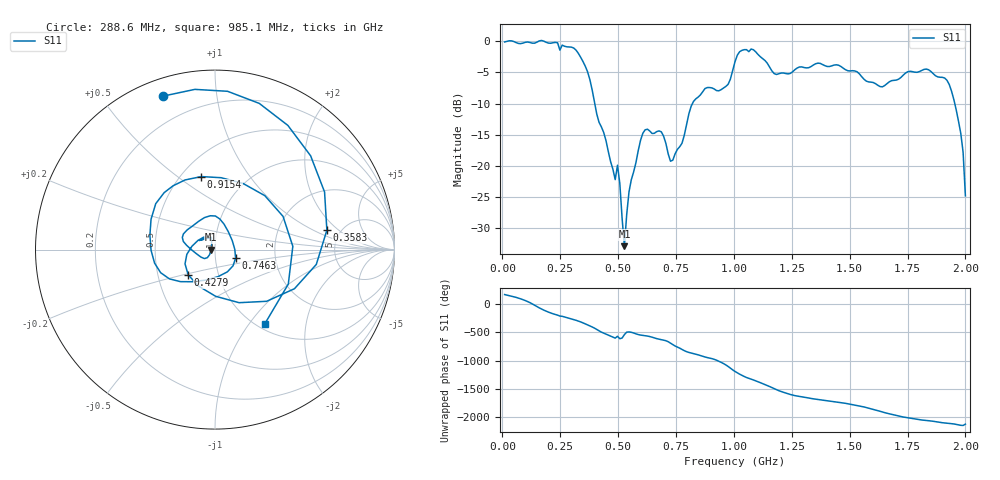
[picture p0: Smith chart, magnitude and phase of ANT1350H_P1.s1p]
!Created with skrf (http://scikit-rf.org).
# Hz S RI R 50.0
!freq ReS11 ImS11
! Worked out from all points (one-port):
!   201 points, 10 MHz to 2 GHz, reference 50 ohm
!   lowest |S11| = -33.0 dB at 527.4 MHz (marker M1), VSWR 1.05, Z = 47.8 + j0.0135 ohm
!   |S11| at or under -10 dB: 399.3 MHz to 821.3 MHz (422.1 MHz wide, 69.2 % of centre); 1.954 GHz to end of sweep
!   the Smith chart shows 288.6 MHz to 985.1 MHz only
!   S11 on the Smith chart (normalised r, x): 288.6 MHz: 0.08, +0.71; 358.2 MHz: 3.91, +1.41; 427.9 MHz: 0.71, -0.21; 746.3 MHz: 1.25, -0.12; 915.5 MHz: 0.63, +0.61; 985.1 MHz: 1.09, -1.19
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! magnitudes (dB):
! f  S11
! 10 MHz  -0.1
! 258.8 MHz  -0.6
! 288.6 MHz  -0.9
! 358.2 MHz  -4.0
! 427.9 MHz  -13.8
! 497.6 MHz  -19.9
! 507.5 MHz  -22.9
! 527.4 MHz  -33.0
! 547.3 MHz  -24.2
! 607 MHz  -14.8
! 686.6 MHz  -14.6
! 726.4 MHz  -19.3
! 746.3 MHz  -18.1
! 756.2 MHz  -17.4
! 825.9 MHz  -9.7
! 915.5 MHz  -7.7
! 985.1 MHz  -6.1
! 1.005 GHz  -3.3
! 1.075 GHz  -1.2
! 1.174 GHz  -5.2
! 1.254 GHz  -4.9
! 1.502 GHz  -4.8
! 1.642 GHz  -7.3
! 1.751 GHz  -4.9
! 1.93 GHz  -6.9
! 1.98 GHz  -14.8
! 1.99 GHz  -17.8
! 2 GHz  -24.9
